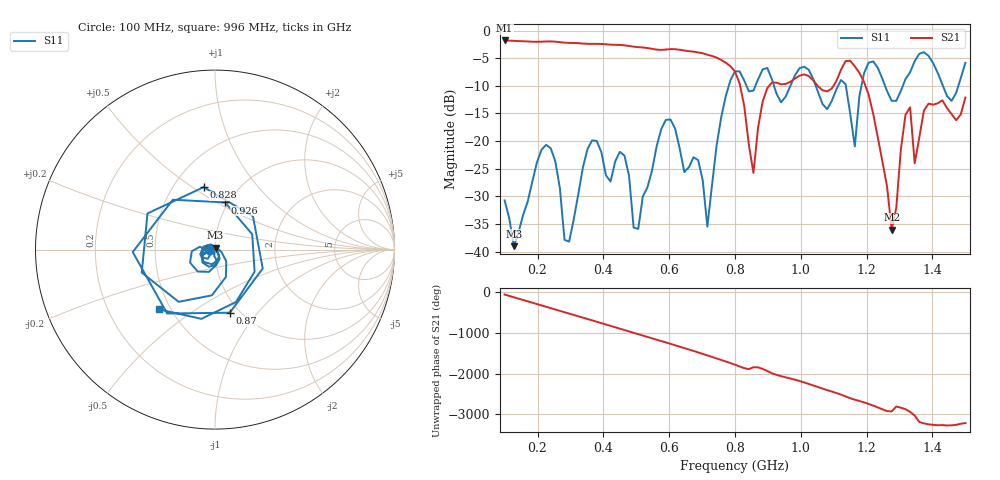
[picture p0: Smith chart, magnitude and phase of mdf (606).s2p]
! NanoVNA-App
! Date: 2025-09-25 15:43:08
! Start: 100MHz Stop: 1,5GHz Points: 101
! S-Parameter data: F S11 S21 S12 S22
# Hz S RI R 50
!  Frequency  S11_Real  S11_Imag  S21_Real  S21_Imag  S12_Real  S12_Imag  S22_Real  S22_Imag
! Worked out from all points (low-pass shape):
!   101 points, 100 MHz to 1.5 GHz, reference 50 ohm
!   highest |S21| = -1.80 dB at 100 MHz (marker M1); lowest = -36.0 dB at 1.276 GHz (marker M2)
!   |S21| within 3 dB of the highest: start of sweep to 739.2 MHz
!   lowest |S11| = -39.0 dB at 128 MHz (marker M3), VSWR 1.02, Z = 50.3 + j1.08 ohm
!   |S11| at or under -10 dB: start of sweep to 781.1 MHz; 918.5 MHz to 968.3 MHz (49.84 MHz wide, 5.28 % of centre); 1.045 GHz to 1.113 GHz (68.1 MHz wide, 6.31 % of centre) (the widest 3 of 7)
!   S12 and S22 are empty: the file has one direction only
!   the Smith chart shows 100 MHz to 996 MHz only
!   S11 on the Smith chart (normalised r, x): 100 MHz: 0.94, -0.01; 828 MHz: 0.70, +0.56; 870 MHz: 0.90, -0.73; 926 MHz: 0.97, +0.55; 996 MHz: 0.43, -0.36
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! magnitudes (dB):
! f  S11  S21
! 100 MHz  -30.7  -1.8
! 128 MHz  -39.0  -1.9
! 212 MHz  -21.6  -2.0
! 282 MHz  -37.9  -2.2
! 338 MHz  -24.7  -2.4
! 464 MHz  -22.6  -2.7
! 506 MHz  -35.9  -3.0
! 576 MHz  -17.8  -3.5
! 716 MHz  -35.5  -4.4
! 800 MHz  -7.4  -7.4
! 828 MHz  -9.0  -13.6
! 856 MHz  -10.9  -25.7
! 870 MHz  -8.8  -17.6
! 926 MHz  -11.4  -9.4
! 996 MHz  -6.8  -8.2
! 1.038 GHz  -8.8  -9.0
! 1.164 GHz  -21.0  -6.5
! 1.178 GHz  -11.8  -7.6
! 1.276 GHz  -12.7  -36.0
! 1.318 GHz  -8.8  -15.2
! 1.346 GHz  -5.5  -24.0
! 1.5 GHz  -5.8  -12.1
